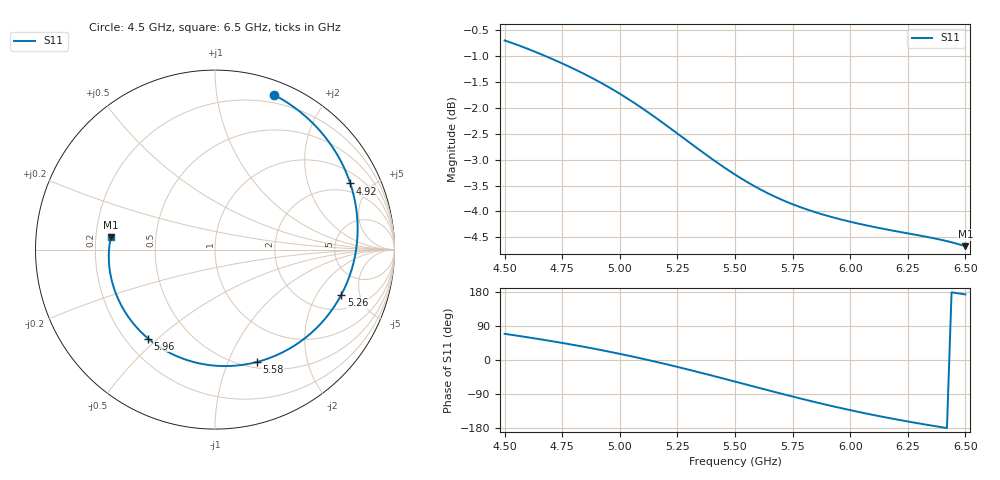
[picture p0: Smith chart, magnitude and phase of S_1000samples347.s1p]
! TOUCHSTONE file generated by CST MICROWAVE STUDIO
! Date and time: Thu Oct 27 20:48:17 2022
! Project name: L.cst
! Parameters = {Di=1.27; Epsilon_r=1.56; InnerDiameter=1.27; Length=2; Lf=10; Lg=60; OuterConductorThickness=0.2921; OuterDiameter=3.6; Wf=3; Wp=41.2; de=1.5; df=6.8; g=0.8; gx=1.39445; gy=0.757131; h=2.34; hf=1.524; px=8.65644; py=8.62796; w=9.7; wx=7.26199; wy=7.87083}
! Header version: 2018
! Port assignment regex: !\s*Touchstone port\s*([0-9]+)\s*=\s*(CST MWS port|CST DS port)\s*([0-9]+|Zmin|Zmax)\s*\(\"(.*)\"\)(\s*mode\s*([0-9]+))?.*
! Touchstone port assignment:
! Touchstone port 1 = CST MWS port 1 ("")
# GHz S DB R 50
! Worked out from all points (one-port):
!   101 points, 4.5 GHz to 6.5 GHz, reference 50 ohm
!   lowest |S11| = -4.7 dB at 6.5 GHz (marker M1), VSWR 3.81, Z = 13.2 + j2.84 ohm
!   |S11| at or under -10 dB: nowhere
!   S11 on the Smith chart (normalised r, x): 4.5 GHz: 0.13, +1.45; 4.92 GHz: 1.51, +3.75; 5.26 GHz: 2.92, -3.33; 5.58 GHz: 0.56, -1.28; 5.96 GHz: 0.29, -0.47; 6.5 GHz: 0.26, +0.06
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4.5  -0.70 69.1
4.56  -0.80 63.6
4.64  -0.94 56.1
4.76  -1.17 44.0
4.84  -1.34 35.3
4.92  -1.52 26.0
5  -1.73 16.2
5.08  -1.96 5.8
5.14  -2.14 -2.4
5.2  -2.33 -10.9
5.26  -2.53 -19.7
5.32  -2.73 -28.7
5.38  -2.92 -38.0
5.44  -3.11 -47.4
5.5  -3.29 -56.9
5.58  -3.50 -69.7
5.66  -3.69 -82.4
5.7  -3.77 -88.7
5.76  -3.88 -97.9
5.86  -4.03 -112.9
5.96  -4.15 -126.9
6  -4.20 -132.3
6.06  -4.26 -140.0
6.12  -4.31 -147.4
6.18  -4.37 -154.4
6.26  -4.43 -163.3
6.38  -4.53 -175.6
6.5  -4.67 173.0
